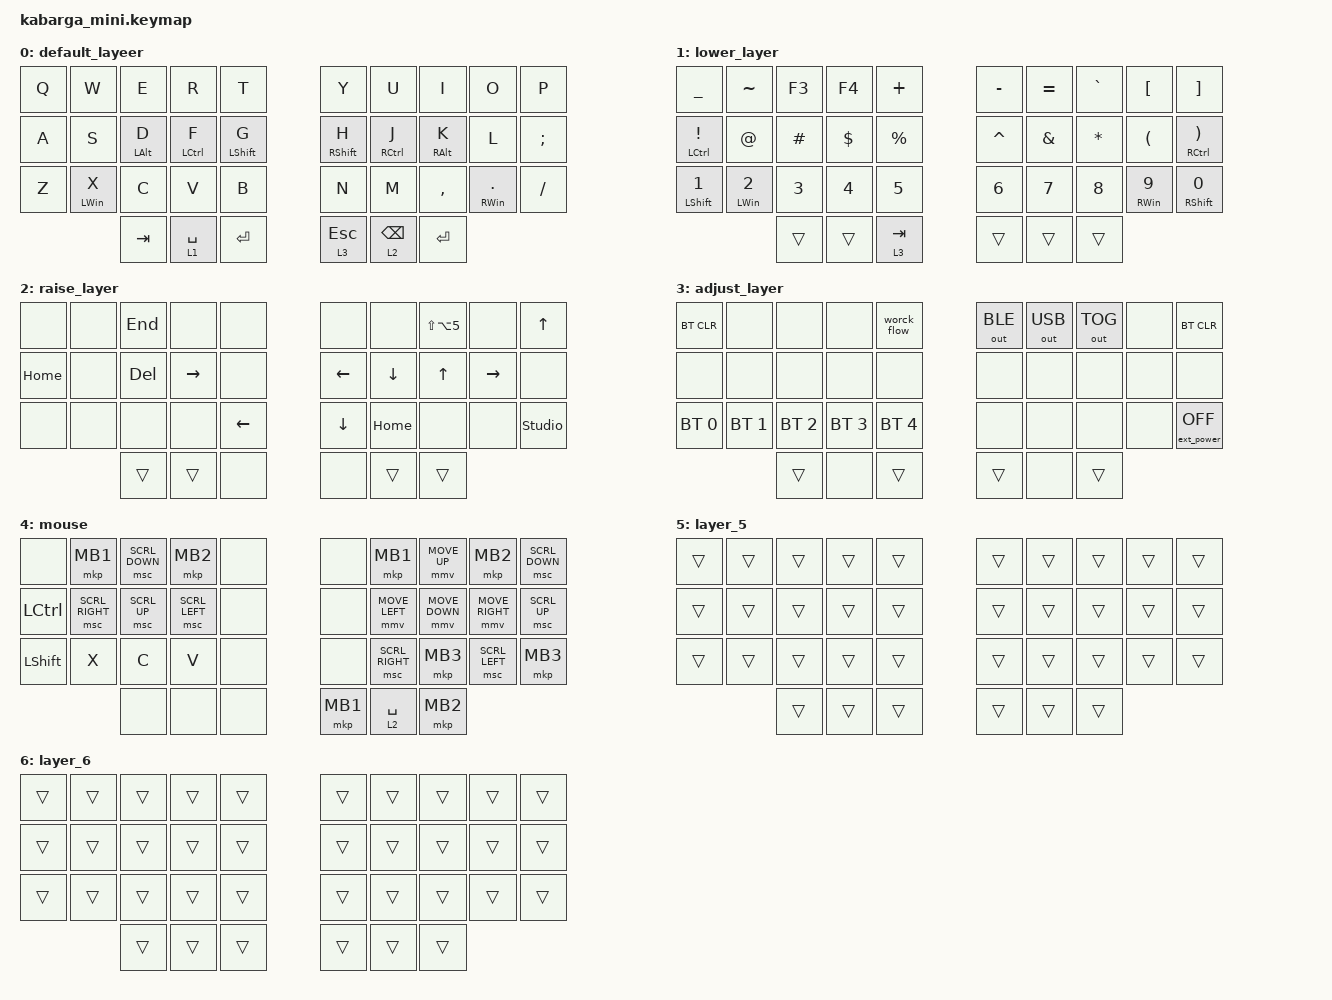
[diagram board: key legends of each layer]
/*
 * Copyright (c) 2020 The ZMK Contributors
 *
 * SPDX-License-Identifier: MIT
 */

#define ZMK_POINTING_DEFAULT_MOVE_VAL 2000  // default: 600
#define ZMK_POINTING_DEFAULT_SCRL_VAL 20    // default: 10

#include <behaviors.dtsi>
#include <dt-bindings/zmk/bt.h>
#include <dt-bindings/zmk/ext_power.h>
#include <dt-bindings/zmk/keys.h>
#include <dt-bindings/zmk/outputs.h>
#include <dt-bindings/zmk/pointing.h>

#define DEF 0
#define LWR 1
#define RSE 2
#define ADJ 3

/*
* &lt { quick_tap_ms = <220>; };
* &mt { quick_tap_ms = <220>; };
 */

&lt {
    quick_tap_ms = <220>;
    require-prior-idle-ms = <150>;
    flavor = "balanced";
    tapping-term-ms = <280>;
};

&mt {
    quick-tap-ms = <100>;
    global-quick-tap;
    flavor = "tap-preferred";
    tapping-term-ms = <220>;
};

&mmv {
    x-input-code = <INPUT_REL_X>;
    y-input-code = <INPUT_REL_Y>;
    time-to-max-speed-ms = <400>;
    acceleration-exponent = <1>;
    delay-ms = <0>;
};

/ {
};

/ {
    combos {
        compatible = "zmk,combos";

        esc {
            bindings = <&kp ESCAPE>;
            key-positions = <0 1>;
        };

        x {
            bindings = <&kp LEFT_BRACKET>;
            key-positions = <8 9>;
        };

        q {
            bindings = <&kp SQT>;
            key-positions = <18 19>;
        };

        backslash {
            bindings = <&kp BACKSLASH>;
            key-positions = <29 28>;
        };

        togglemouse {
            bindings = <&tog 4>;
            key-positions = <7 6 8>;
        };

        tast_macro {
            bindings = <&test_selecting_line_left>;
            key-positions = <15 16>;
        };

        macro_right {
            bindings = <&test_selecting_line_right>;
            key-positions = <17 18>;
        };

        langu {
            bindings = <&alt_shift123>;
            key-positions = <3 4>;
        };

        workflow {
            bindings = <&worck_flow>;
            key-positions = <33 34 35>;
        };
    };

    macros {
        worck_flow: worck_flow {
            compatible = "zmk,behavior-macro";
            #binding-cells = <0>;
            bindings = <&kp Z &kp Y &kp LS(A) &kp N4 &kp V &kp LS(Z) &kp LS(Y) &kp X>;
            label = "WORCK_FLOW";
        };

        test_selecting_line_left: test_selecting_line {
            compatible = "zmk,behavior-macro";
            #binding-cells = <0>;
            bindings = <&kp LC(LEFT)>;
            label = "TEST_SELECTING_LINE";
        };

        test_selecting_line_right: test_selecting_line_right {
            compatible = "zmk,behavior-macro";
            #binding-cells = <0>;
            bindings = <&kp LC(RIGHT)>;
            label = "TEST_SELECTING_LINE_RIGHT";
        };

        alt_shift123: alt_shift {
            compatible = "zmk,behavior-macro";
            #binding-cells = <0>;
            bindings = <&kp LA(LEFT_SHIFT)>;
            label = "ALT_SHIFT";
        };
    };

    keymap {
        compatible = "zmk,keymap";

        default_layeer {
            bindings = <
&kp Q  &kp W       &kp E           &kp R        &kp T             &kp Y              &kp U        &kp I            &kp O         &kp P
&kp A  &kp S       &mt LEFT_ALT D  &mt LCTRL F  &mt LEFT_SHIFT G  &mt RIGHT_SHIFT H  &mt RCTRL J  &mt RIGHT_ALT K  &kp L         &kp SEMI
&kp Z  &mt LWIN X  &kp C           &kp V        &kp B             &kp N              &kp M        &kp COMMA        &mt RWIN DOT  &kp FSLH
                   &kp TAB         &lt 1 SPACE  &kp ENTER                            &lt 3 ESC    &lt 2 BACKSPACE  &kp ENTER
            >;
        };

        lower_layer {
            bindings = <
&kp UNDERSCORE         &kp TILDE    &kp F3    &kp F4      &kp PLUS     &kp MINUS  &kp EQUAL  &kp GRAVE  &kp LEFT_BRACKET  &kp RIGHT_BRACKET
&mt LCTRL EXCLAMATION  &kp AT_SIGN  &kp HASH  &kp DOLLAR  &kp PERCENT  &kp CARET  &kp AMPS   &kp STAR   &kp LPAR          &mt RCTRL RPAR
&mt LSHIFT N1          &mt LWIN N2  &kp N3    &kp N4      &kp N5       &kp N6     &kp N7     &kp N8     &mt RWIN N9       &mt RSHFT N0
                                    &trans    &trans      &lt 3 TAB               &trans     &trans     &trans
            >;
        };

        raise_layer {
            bindings = <
&none     &none  &kp END  &none      &none     &none     &none           &kp LS(LA(N5))  &none            &kp UP
&kp HOME  &none  &kp DEL  &kp RIGHT  &none     &kp LEFT  &kp DOWN_ARROW  &kp UP_ARROW    &kp RIGHT_ARROW  &none
&none     &none  &none    &none      &kp LEFT  &kp DOWN  &kp HOME        &none           &none            &studio_unlock
                 &trans   &trans     &none               &none           &trans          &trans
            >;
        };

        adjust_layer {
            bindings = <
&bt BT_CLR    &none         &none         &none         &worck_flow   &out OUT_BLE  &out OUT_USB  &out OUT_TOG  &none   &bt BT_CLR
&none         &none         &none         &none         &none         &none         &none         &none         &none   &none
&bt BT_SEL 0  &bt BT_SEL 1  &bt BT_SEL 2  &bt BT_SEL 3  &bt BT_SEL 4  &none         &none         &none         &none   &ext_power EP_OFF
                            &trans        &none         &trans                      &trans        &none         &trans
            >;
        };

        mouse {
            bindings = <
&none           &mkp MB1         &msc SCRL_DOWN  &mkp MB2        &none  &none  &mkp MB1         &mmv MOVE_UP    &mkp MB2         &msc SCRL_DOWN
&kp LCTRL       &msc SCRL_RIGHT  &msc SCRL_UP    &msc SCRL_LEFT  &none  &none  &mmv MOVE_LEFT   &mmv MOVE_DOWN  &mmv MOVE_RIGHT  &msc SCRL_UP
&kp LEFT_SHIFT  &kp X            &kp C           &kp V           &none  &none  &msc SCRL_RIGHT  &mkp MB3        &msc SCRL_LEFT   &mkp MB3
                                 &none           &none           &none         &mkp MB1         &lt 2 SPACE     &mkp MB2
            >;
        };

        layer_5 {
            bindings = <
&trans  &trans  &trans  &trans  &trans  &trans  &trans  &trans  &trans  &trans
&trans  &trans  &trans  &trans  &trans  &trans  &trans  &trans  &trans  &trans
&trans  &trans  &trans  &trans  &trans  &trans  &trans  &trans  &trans  &trans
                &trans  &trans  &trans          &trans  &trans  &trans
            >;
        };

        layer_6 {
            bindings = <
&trans  &trans  &trans  &trans  &trans  &trans  &trans  &trans  &trans  &trans
&trans  &trans  &trans  &trans  &trans  &trans  &trans  &trans  &trans  &trans
&trans  &trans  &trans  &trans  &trans  &trans  &trans  &trans  &trans  &trans
                &trans  &trans  &trans          &trans  &trans  &trans
            >;
        };
    };
};
